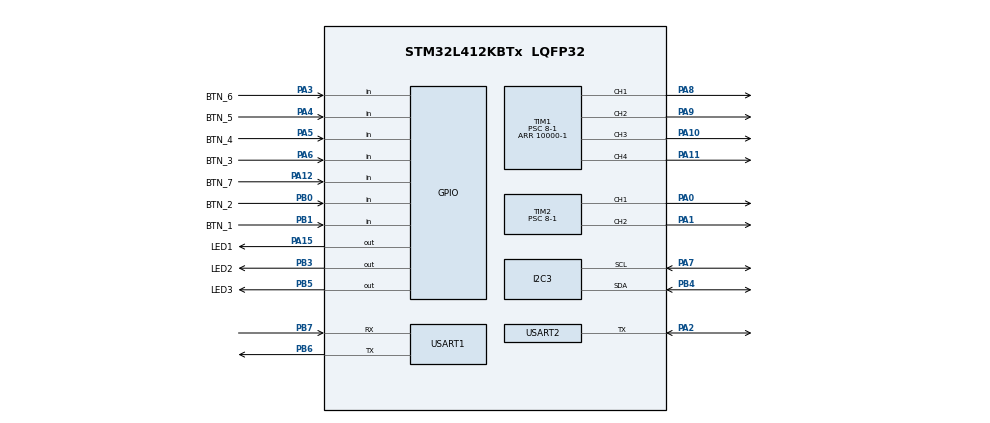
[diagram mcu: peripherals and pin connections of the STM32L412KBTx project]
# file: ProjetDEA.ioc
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Mcu.Family=STM32L4
Mcu.Name=STM32L412KBTx
Mcu.Package=LQFP32
NVIC.PriorityGroup=NVIC_PRIORITYGROUP_4
PA0-CK_IN.Signal=S_TIM2_CH1
PA1.Signal=S_TIM2_CH2
PA10.Signal=S_TIM1_CH3
PA11.Signal=S_TIM1_CH4
PA12.GPIO_Label=BTN_7
PA12.Signal=GPIO_Input
PA13\ (JTMS/SWDIO).Mode=Serial_Wire
PA13\ (JTMS/SWDIO).Signal=SYS_JTMS-SWDIO
PA14\ (JTCK/SWCLK).Mode=Serial_Wire
PA14\ (JTCK/SWCLK).Signal=SYS_JTCK-SWCLK
PA15\ (JTDI).GPIO_Label=LED1
PA15\ (JTDI).Signal=GPIO_Output
PA2.Mode=Half_duplex(single_wire_mode)
PA2.Signal=USART2_TX
PA3.GPIO_Label=BTN_6
PA3.Signal=GPIO_Input
PA4.GPIO_Label=BTN_5
PA4.Signal=GPIO_Input
PA5.GPIO_Label=BTN_4
PA5.Signal=GPIO_Input
PA6.GPIO_Label=BTN_3
PA6.Signal=GPIO_Input
PA7.Mode=I2C
PA7.Signal=I2C3_SCL
PA8.Signal=S_TIM1_CH1
PA9.Signal=S_TIM1_CH2
PB0.GPIO_Label=BTN_2
PB0.Signal=GPIO_Input
PB1.GPIO_Label=BTN_1
PB1.Signal=GPIO_Input
PB3\ (JTDO/TRACESWO).GPIO_Label=LED2
PB3\ (JTDO/TRACESWO).Signal=GPIO_Output
PB4\ (NJTRST).Mode=I2C
PB4\ (NJTRST).Signal=I2C3_SDA
PB5.GPIO_Label=LED3
PB5.Signal=GPIO_Output
PB6.Mode=Asynchronous
PB6.Signal=USART1_TX
PB7.Mode=Asynchronous
PB7.Signal=USART1_RX
ProjectManager.HeapSize=0x200
ProjectManager.StackSize=0x400
ProjectManager.TargetToolchain=STM32CubeIDE
RCC.ADCFreq_Value=4000000
RCC.HSE_VALUE=8000000
RCC.HSI48_VALUE=48000000
RCC.HSI_VALUE=16000000
RCC.LSE_VALUE=32768
RCC.MSI_VALUE=4000000
RCC.USBFreq_Value=4000000
RCC.VCOOutputFreq_Value=32000000
SH.S_TIM1_CH1.0=TIM1_CH1,PWM Generation1 CH1
SH.S_TIM1_CH2.0=TIM1_CH2,PWM Generation2 CH2
SH.S_TIM1_CH3.0=TIM1_CH3,PWM Generation3 CH3
SH.S_TIM1_CH4.0=TIM1_CH4,PWM Generation4 CH4
SH.S_TIM2_CH1.0=TIM2_CH1,PWM Generation1 CH1
SH.S_TIM2_CH2.0=TIM2_CH2,PWM Generation2 CH2
TIM1.Channel-PWM\ Generation1\ CH1=TIM_CHANNEL_1
TIM1.Channel-PWM\ Generation2\ CH2=TIM_CHANNEL_2
TIM1.Channel-PWM\ Generation3\ CH3=TIM_CHANNEL_3
TIM1.Channel-PWM\ Generation4\ CH4=TIM_CHANNEL_4
TIM1.Period=10000-1
TIM1.Prescaler=8-1
TIM2.Channel-PWM\ Generation1\ CH1=TIM_CHANNEL_1
TIM2.Channel-PWM\ Generation2\ CH2=TIM_CHANNEL_2
TIM2.Period=10000-1
TIM2.Prescaler=8-1
USART1.VirtualMode-Asynchronous=VM_ASYNC
USART2.BaudRate=57600
USART2.VirtualMode-Half_duplex(single_wire_mode)=VM_ASYNC
VP_TIM1_VS_ClockSourceINT.Mode=Internal
VP_TIM2_VS_ClockSourceINT.Mode=Internal
board=custom

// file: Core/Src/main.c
/* USER CODE BEGIN Header */
/**
  ******************************************************************************
  * @file           : main.c
  * @brief          : Main program body
  ******************************************************************************
  * @attention
  *
  * Copyright (c) 2024 STMicroelectronics.
  * All rights reserved.
  *
  * This software is licensed under terms that can be found in the LICENSE file
  * in the root directory of this software component.
  * If no LICENSE file comes with this software, it is provided AS-IS.
  *
  ******************************************************************************
  */
/* USER CODE END Header */
#include "main.h"

I2C_HandleTypeDef hi2c3;

TIM_HandleTypeDef htim1;
TIM_HandleTypeDef htim2;

UART_HandleTypeDef huart1;
UART_HandleTypeDef huart2;

void SystemClock_Config(void);
static void MX_GPIO_Init(void);
static void MX_TIM1_Init(void);
static void MX_USART1_UART_Init(void);
static void MX_USART2_UART_Init(void);
static void MX_I2C3_Init(void);
static void MX_TIM2_Init(void);

/* USER CODE BEGIN 0 */
#ifdef __GNUC__
#define PUTCHAR_PROTOTYPE int __io_putchar(int ch)
#define GETCHAR_PROTOTYPE int __io_getchar(void)
#else
#define PUTCHAR_PROTOTYPE int fputc(int ch, FILE *f)
#define GETCHAR_PROTOTYPE int fgetc(FILE *f)
#endif

PUTCHAR_PROTOTYPE
{
  HAL_UART_Transmit(&huart2, (uint8_t *)&ch, 1, HAL_MAX_DELAY);
  return ch;
}

GETCHAR_PROTOTYPE
{
  uint8_t ch = 0;

  /* Clear the Overrun flag just before receiving the first character */
  __HAL_UART_CLEAR_OREFLAG(&huart2);

  /* Wait for reception of a character on the USART RX line and echo this
   * character on console */
  HAL_UART_Receive(&huart2, (uint8_t *)&ch, 1, HAL_MAX_DELAY);
  HAL_UART_Transmit(&huart2, (uint8_t *)&ch, 1, HAL_MAX_DELAY);
  return ch;
}
/* USER CODE END 0 */

int main(void)
{

  /* MCU Configuration--------------------------------------------------------*/

  /* Reset of all peripherals, Initializes the Flash interface and the Systick. */
  HAL_Init();

  /* Configure the system clock */
  SystemClock_Config();

  /* Initialize all configured peripherals */
  MX_GPIO_Init();
  MX_TIM1_Init();
  MX_USART1_UART_Init();
  MX_USART2_UART_Init();
  MX_I2C3_Init();
  MX_TIM2_Init();
  /* USER CODE BEGIN 2 */
  __XL430_HandleTypeDef XL430_1;

  XL430_Init(&XL430_1, &huart2, 1, 1);
  XL430_Init_debug(&XL430_1, &huart2, &huart1, 1, 1);
  XL430_Ping(&XL430_1);
  XL430_Write_Data(&XL430_1,XL430_REG_TORQUE_ENABLE,0);
  XL430_Set_Operating_Mode(&XL430_1,XL430_VELOCITY_CONTROL_MODE);
  XL430_Set_Speed(&XL430_1,200);
  XL430_Write_Data(&XL430_1,XL430_REG_TORQUE_ENABLE,1);
  /* USER CODE END 2 */

  /* Infinite loop */
  while (1)
  {

  }
}

void SystemClock_Config(void)
{
  RCC_OscInitTypeDef RCC_OscInitStruct = {0};
  RCC_ClkInitTypeDef RCC_ClkInitStruct = {0};

  /** Configure the main internal regulator output voltage
  */
  if (HAL_PWREx_ControlVoltageScaling(PWR_REGULATOR_VOLTAGE_SCALE1) != HAL_OK)
  {
    Error_Handler();
  }

  /** Initializes the RCC Oscillators according to the specified parameters
  * in the RCC_OscInitTypeDef structure.
  */
  RCC_OscInitStruct.OscillatorType = RCC_OSCILLATORTYPE_MSI;
  RCC_OscInitStruct.MSIState = RCC_MSI_ON;
  RCC_OscInitStruct.MSICalibrationValue = 0;
  RCC_OscInitStruct.MSIClockRange = RCC_MSIRANGE_6;
  RCC_OscInitStruct.PLL.PLLState = RCC_PLL_NONE;
  if (HAL_RCC_OscConfig(&RCC_OscInitStruct) != HAL_OK)
  {
    Error_Handler();
  }

  /** Initializes the CPU, AHB and APB buses clocks
  */
  RCC_ClkInitStruct.ClockType = RCC_CLOCKTYPE_HCLK|RCC_CLOCKTYPE_SYSCLK
                              |RCC_CLOCKTYPE_PCLK1|RCC_CLOCKTYPE_PCLK2;
  RCC_ClkInitStruct.SYSCLKSource = RCC_SYSCLKSOURCE_MSI;
  RCC_ClkInitStruct.AHBCLKDivider = RCC_SYSCLK_DIV1;
  RCC_ClkInitStruct.APB1CLKDivider = RCC_HCLK_DIV1;
  RCC_ClkInitStruct.APB2CLKDivider = RCC_HCLK_DIV1;

  if (HAL_RCC_ClockConfig(&RCC_ClkInitStruct, FLASH_LATENCY_0) != HAL_OK)
  {
    Error_Handler();
  }
}

static void MX_I2C3_Init(void)
{

  hi2c3.Instance = I2C3;
  hi2c3.Init.Timing = 0x00000E14;
  hi2c3.Init.OwnAddress1 = 0;
  hi2c3.Init.AddressingMode = I2C_ADDRESSINGMODE_7BIT;
  hi2c3.Init.DualAddressMode = I2C_DUALADDRESS_DISABLE;
  hi2c3.Init.OwnAddress2 = 0;
  hi2c3.Init.OwnAddress2Masks = I2C_OA2_NOMASK;
  hi2c3.Init.GeneralCallMode = I2C_GENERALCALL_DISABLE;
  hi2c3.Init.NoStretchMode = I2C_NOSTRETCH_DISABLE;
  if (HAL_I2C_Init(&hi2c3) != HAL_OK)
  {
    Error_Handler();
  }

  /** Configure Analogue filter
  */
  if (HAL_I2CEx_ConfigAnalogFilter(&hi2c3, I2C_ANALOGFILTER_ENABLE) != HAL_OK)
  {
    Error_Handler();
  }

  /** Configure Digital filter
  */
  if (HAL_I2CEx_ConfigDigitalFilter(&hi2c3, 0) != HAL_OK)
  {
    Error_Handler();
  }

}

static void MX_TIM1_Init(void)
{

  TIM_ClockConfigTypeDef sClockSourceConfig = {0};
  TIM_MasterConfigTypeDef sMasterConfig = {0};
  TIM_OC_InitTypeDef sConfigOC = {0};
  TIM_BreakDeadTimeConfigTypeDef sBreakDeadTimeConfig = {0};

  htim1.Instance = TIM1;
  htim1.Init.Prescaler = 8-1;
  htim1.Init.CounterMode = TIM_COUNTERMODE_UP;
  htim1.Init.Period = 10000-1;
  htim1.Init.ClockDivision = TIM_CLOCKDIVISION_DIV1;
  htim1.Init.RepetitionCounter = 0;
  htim1.Init.AutoReloadPreload = TIM_AUTORELOAD_PRELOAD_DISABLE;
  if (HAL_TIM_Base_Init(&htim1) != HAL_OK)
  {
    Error_Handler();
  }
  sClockSourceConfig.ClockSource = TIM_CLOCKSOURCE_INTERNAL;
  if (HAL_TIM_ConfigClockSource(&htim1, &sClockSourceConfig) != HAL_OK)
  {
    Error_Handler();
  }
  if (HAL_TIM_PWM_Init(&htim1) != HAL_OK)
  {
    Error_Handler();
  }
  sMasterConfig.MasterOutputTrigger = TIM_TRGO_RESET;
  sMasterConfig.MasterOutputTrigger2 = TIM_TRGO2_RESET;
  sMasterConfig.MasterSlaveMode = TIM_MASTERSLAVEMODE_DISABLE;
  if (HAL_TIMEx_MasterConfigSynchronization(&htim1, &sMasterConfig) != HAL_OK)
  {
    Error_Handler();
  }
  sConfigOC.OCMode = TIM_OCMODE_PWM1;
  sConfigOC.Pulse = 0;
  sConfigOC.OCPolarity = TIM_OCPOLARITY_HIGH;
  sConfigOC.OCNPolarity = TIM_OCNPOLARITY_HIGH;
  sConfigOC.OCFastMode = TIM_OCFAST_DISABLE;
  sConfigOC.OCIdleState = TIM_OCIDLESTATE_RESET;
  sConfigOC.OCNIdleState = TIM_OCNIDLESTATE_RESET;
  if (HAL_TIM_PWM_ConfigChannel(&htim1, &sConfigOC, TIM_CHANNEL_1) != HAL_OK)
  {
    Error_Handler();
  }
  if (HAL_TIM_PWM_ConfigChannel(&htim1, &sConfigOC, TIM_CHANNEL_2) != HAL_OK)
  {
    Error_Handler();
  }
  if (HAL_TIM_PWM_ConfigChannel(&htim1, &sConfigOC, TIM_CHANNEL_3) != HAL_OK)
  {
    Error_Handler();
  }
  if (HAL_TIM_PWM_ConfigChannel(&htim1, &sConfigOC, TIM_CHANNEL_4) != HAL_OK)
  {
    Error_Handler();
  }
  sBreakDeadTimeConfig.OffStateRunMode = TIM_OSSR_DISABLE;
  sBreakDeadTimeConfig.OffStateIDLEMode = TIM_OSSI_DISABLE;
  sBreakDeadTimeConfig.LockLevel = TIM_LOCKLEVEL_OFF;
  sBreakDeadTimeConfig.DeadTime = 0;
  sBreakDeadTimeConfig.BreakState = TIM_BREAK_DISABLE;
  sBreakDeadTimeConfig.BreakPolarity = TIM_BREAKPOLARITY_HIGH;
  sBreakDeadTimeConfig.BreakFilter = 0;
  sBreakDeadTimeConfig.Break2State = TIM_BREAK2_DISABLE;
  sBreakDeadTimeConfig.Break2Polarity = TIM_BREAK2POLARITY_HIGH;
  sBreakDeadTimeConfig.Break2Filter = 0;
  sBreakDeadTimeConfig.AutomaticOutput = TIM_AUTOMATICOUTPUT_DISABLE;
  if (HAL_TIMEx_ConfigBreakDeadTime(&htim1, &sBreakDeadTimeConfig) != HAL_OK)
  {
    Error_Handler();
  }
  HAL_TIM_MspPostInit(&htim1);

}

static void MX_TIM2_Init(void)
{

  TIM_ClockConfigTypeDef sClockSourceConfig = {0};
  TIM_MasterConfigTypeDef sMasterConfig = {0};
  TIM_OC_InitTypeDef sConfigOC = {0};

  htim2.Instance = TIM2;
  htim2.Init.Prescaler = 8-1;
  htim2.Init.CounterMode = TIM_COUNTERMODE_UP;
  htim2.Init.Period = 10000-1;
  htim2.Init.ClockDivision = TIM_CLOCKDIVISION_DIV1;
  htim2.Init.AutoReloadPreload = TIM_AUTORELOAD_PRELOAD_DISABLE;
  if (HAL_TIM_Base_Init(&htim2) != HAL_OK)
  {
    Error_Handler();
  }
  sClockSourceConfig.ClockSource = TIM_CLOCKSOURCE_INTERNAL;
  if (HAL_TIM_ConfigClockSource(&htim2, &sClockSourceConfig) != HAL_OK)
  {
    Error_Handler();
  }
  if (HAL_TIM_PWM_Init(&htim2) != HAL_OK)
  {
    Error_Handler();
  }
  sMasterConfig.MasterOutputTrigger = TIM_TRGO_RESET;
  sMasterConfig.MasterSlaveMode = TIM_MASTERSLAVEMODE_DISABLE;
  if (HAL_TIMEx_MasterConfigSynchronization(&htim2, &sMasterConfig) != HAL_OK)
  {
    Error_Handler();
  }
  sConfigOC.OCMode = TIM_OCMODE_PWM1;
  sConfigOC.Pulse = 0;
  sConfigOC.OCPolarity = TIM_OCPOLARITY_HIGH;
  sConfigOC.OCFastMode = TIM_OCFAST_DISABLE;
  if (HAL_TIM_PWM_ConfigChannel(&htim2, &sConfigOC, TIM_CHANNEL_1) != HAL_OK)
  {
    Error_Handler();
  }
  if (HAL_TIM_PWM_ConfigChannel(&htim2, &sConfigOC, TIM_CHANNEL_2) != HAL_OK)
  {
    Error_Handler();
  }
  HAL_TIM_MspPostInit(&htim2);

}

static void MX_USART1_UART_Init(void)
{

  huart1.Instance = USART1;
  huart1.Init.BaudRate = 115200;
  huart1.Init.WordLength = UART_WORDLENGTH_8B;
  huart1.Init.StopBits = UART_STOPBITS_1;
  huart1.Init.Parity = UART_PARITY_NONE;
  huart1.Init.Mode = UART_MODE_TX_RX;
  huart1.Init.HwFlowCtl = UART_HWCONTROL_NONE;
  huart1.Init.OverSampling = UART_OVERSAMPLING_16;
  huart1.Init.OneBitSampling = UART_ONE_BIT_SAMPLE_DISABLE;
  huart1.AdvancedInit.AdvFeatureInit = UART_ADVFEATURE_NO_INIT;
  if (HAL_UART_Init(&huart1) != HAL_OK)
  {
    Error_Handler();
  }

}

static void MX_USART2_UART_Init(void)
{

  huart2.Instance = USART2;
  huart2.Init.BaudRate = 57600;
  huart2.Init.WordLength = UART_WORDLENGTH_8B;
  huart2.Init.StopBits = UART_STOPBITS_1;
  huart2.Init.Parity = UART_PARITY_NONE;
  huart2.Init.Mode = UART_MODE_TX_RX;
  huart2.Init.HwFlowCtl = UART_HWCONTROL_NONE;
  huart2.Init.OverSampling = UART_OVERSAMPLING_16;
  huart2.Init.OneBitSampling = UART_ONE_BIT_SAMPLE_DISABLE;
  huart2.AdvancedInit.AdvFeatureInit = UART_ADVFEATURE_NO_INIT;
  if (HAL_HalfDuplex_Init(&huart2) != HAL_OK)
  {
    Error_Handler();
  }

}

static void MX_GPIO_Init(void)
{
  GPIO_InitTypeDef GPIO_InitStruct = {0};

  /* GPIO Ports Clock Enable */
  __HAL_RCC_GPIOA_CLK_ENABLE();
  __HAL_RCC_GPIOB_CLK_ENABLE();

  /*Configure GPIO pin Output Level */
  HAL_GPIO_WritePin(LED1_GPIO_Port, LED1_Pin, GPIO_PIN_RESET);

  /*Configure GPIO pin Output Level */
  HAL_GPIO_WritePin(GPIOB, LED2_Pin|LED3_Pin, GPIO_PIN_RESET);

  /*Configure GPIO pins : BTN_6_Pin BTN_5_Pin BTN_4_Pin BTN_3_Pin
                           BTN_7_Pin */
  GPIO_InitStruct.Pin = BTN_6_Pin|BTN_5_Pin|BTN_4_Pin|BTN_3_Pin
                          |BTN_7_Pin;
  GPIO_InitStruct.Mode = GPIO_MODE_INPUT;
  GPIO_InitStruct.Pull = GPIO_NOPULL;
  HAL_GPIO_Init(GPIOA, &GPIO_InitStruct);

  /*Configure GPIO pins : BTN_2_Pin BTN_1_Pin */
  GPIO_InitStruct.Pin = BTN_2_Pin|BTN_1_Pin;
  GPIO_InitStruct.Mode = GPIO_MODE_INPUT;
  GPIO_InitStruct.Pull = GPIO_NOPULL;
  HAL_GPIO_Init(GPIOB, &GPIO_InitStruct);

  /*Configure GPIO pin : LED1_Pin */
  GPIO_InitStruct.Pin = LED1_Pin;
  GPIO_InitStruct.Mode = GPIO_MODE_OUTPUT_PP;
  GPIO_InitStruct.Pull = GPIO_NOPULL;
  GPIO_InitStruct.Speed = GPIO_SPEED_FREQ_LOW;
  HAL_GPIO_Init(LED1_GPIO_Port, &GPIO_InitStruct);

  /*Configure GPIO pins : LED2_Pin LED3_Pin */
  GPIO_InitStruct.Pin = LED2_Pin|LED3_Pin;
  GPIO_InitStruct.Mode = GPIO_MODE_OUTPUT_PP;
  GPIO_InitStruct.Pull = GPIO_NOPULL;
  GPIO_InitStruct.Speed = GPIO_SPEED_FREQ_LOW;
  HAL_GPIO_Init(GPIOB, &GPIO_InitStruct);

}

void Error_Handler(void)
{
  __disable_irq();
  while (1)
  {
  }
}
